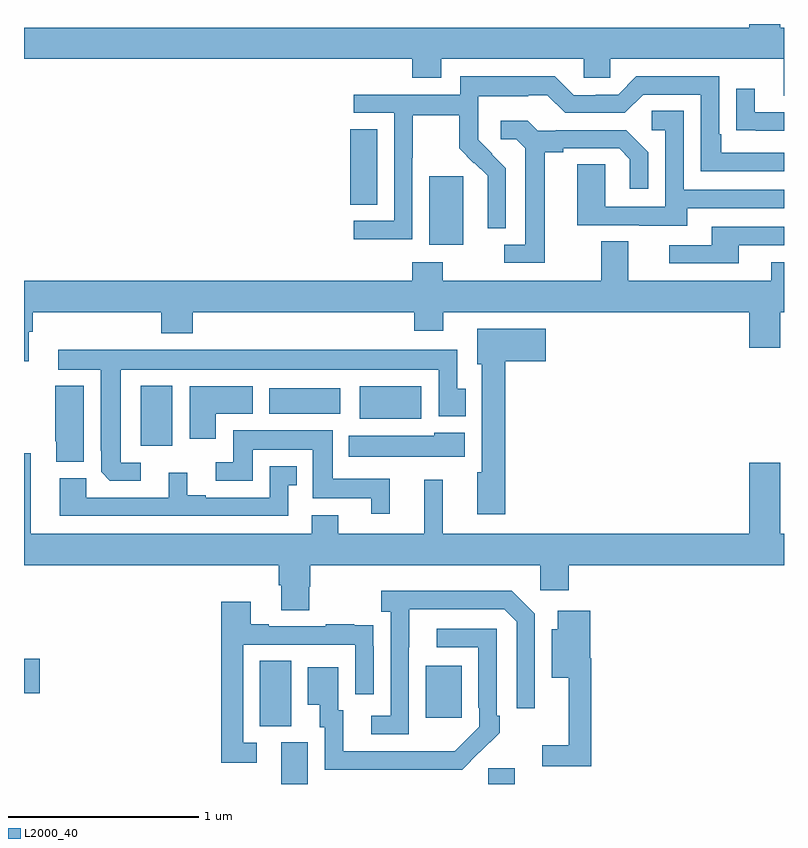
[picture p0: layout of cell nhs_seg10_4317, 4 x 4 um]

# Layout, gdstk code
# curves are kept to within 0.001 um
import gdstk
lib = gdstk.Library(unit=1e-6, precision=1e-09)
def R(c, l, rs):  # rectangles x0, y0, x1, y1
    for r in rs: c.add(gdstk.rectangle(r[:2], r[2:], *l))
def P(c, l, *ps):  # polygons
    for p in ps: c.add(gdstk.Polygon(p, *l))
L2000_40 = (2000, 40)

nhs_seg10_4317 = lib.new_cell('nhs_seg10_4317')
R(nhs_seg10_4317, L2000_40, [(354.353,1296.5,354.493,1296.72), (355.443,1296.5,355.582,1296.582), (354.242,1296.805,354.406,1297.148), (355.115,1296.849,355.303,1297.123), (353,1296.977,353.083,1297.16), (353.615,1298.28,353.779,1298.596), (354.767,1298.423,355.09,1298.593), (354.29,1298.45,354.664,1298.584), (355.133,1299.338,355.312,1299.699), (354.716,1299.55,354.859,1299.947)])
P(nhs_seg10_4317, L2000_40, [(357,1300.48),(356.98,1300.48),(356.98,1300.5),(356.816,1300.5),(356.816,1300.48),(353,1300.48),(353,1300.316),(355.043,1300.316),(355.043,1300.217),(355.195,1300.217),(355.195,1300.316),(355.947,1300.316),(355.947,1300.218),(356.085,1300.218),(356.085,1300.316),(356.999,1300.316),(356.999,1300.122),(357,1300.122)],
  [(355.044,1299.796),(355.047,1299.796),(355.047,1300.02),(355.291,1300.02),(355.291,1299.845),(355.368,1299.768),(355.371,1299.771),(355.442,1299.701),(355.442,1299.578),(355.44,1299.578),(355.44,1299.424),(355.536,1299.424),(355.536,1299.742),(355.39,1299.89),(355.39,1299.987),(355.392,1299.987),(355.392,1300.121),(355.655,1300.121),(355.655,1300.125),(355.755,1300.125),(355.848,1300.032),(356.163,1300.032),(356.259,1300.128),(356.562,1300.128),(356.562,1299.726),(357,1299.726),(357,1299.822),(356.671,1299.822),(356.671,1299.919),(356.658,1299.919),(356.658,1300.224),(356.223,1300.224),(356.127,1300.128),(356.009,1300.128),(356.009,1300.125),(355.893,1300.125),(355.793,1300.225),(355.296,1300.225),(355.296,1300.128),(354.735,1300.128),(354.735,1300.032),(354.948,1300.032),(354.948,1299.465),(354.735,1299.465),(354.735,1299.367),(355.044,1299.367)],
  [(357,1300.035),(356.845,1300.035),(356.845,1300.159),(356.749,1300.159),(356.749,1299.94),(356.851,1299.94),(356.851,1299.938),(357,1299.938)],
  [(356.491,1299.531),(357,1299.531),(357,1299.627),(356.472,1299.627),(356.472,1300.043),(356.304,1300.043),(356.304,1299.942),(356.376,1299.942),(356.376,1299.537),(356.058,1299.537),(356.058,1299.761),(355.913,1299.761),(355.913,1299.441),(356.237,1299.441),(356.237,1299.437),(356.491,1299.437)],
  [(355.741,1299.824),(355.837,1299.824),(355.837,1299.846),(356.132,1299.846),(356.189,1299.789),(356.189,1299.633),(356.286,1299.633),(356.286,1299.826),(356.17,1299.942),(355.798,1299.942),(355.798,1299.939),(355.704,1299.939),(355.652,1299.991),(355.509,1299.991),(355.509,1299.894),(355.59,1299.894),(355.637,1299.847),(355.637,1299.339),(355.527,1299.339),(355.527,1299.243),(355.741,1299.243)],
  [(356.761,1299.336),(357,1299.336),(357,1299.432),(356.621,1299.432),(356.621,1299.336),(356.397,1299.336),(356.397,1299.24),(356.761,1299.24)],
  [(353.026,1298.881),(353.045,1298.881),(353.045,1298.984),(353.723,1298.984),(353.723,1298.873),(353.888,1298.873),(353.888,1298.984),(355.055,1298.984),(355.055,1298.885),(355.207,1298.885),(355.207,1298.984),(356.816,1298.984),(356.816,1298.796),(356.98,1298.796),(356.98,1298.984),(357,1298.984),(357,1299.247),(356.933,1299.247),(356.933,1299.148),(356.179,1299.148),(356.179,1299.356),(356.039,1299.356),(356.039,1299.148),(355.203,1299.148),(355.203,1299.247),(355.043,1299.247),(355.043,1299.148),(353,1299.148),(353,1298.724),(353.026,1298.724)],
  [(355.532,1298.726),(355.747,1298.726),(355.747,1298.896),(355.385,1298.896),(355.385,1298.709),(355.409,1298.709),(355.409,1298.142),(355.385,1298.142),(355.385,1297.92),(355.532,1297.92)],
  [(353.614,1298.19),(353.509,1298.19),(353.509,1298.681),(355.182,1298.681),(355.182,1298.436),(355.324,1298.436),(355.324,1298.58),(355.279,1298.58),(355.279,1298.785),(353.181,1298.785),(353.181,1298.681),(353.405,1298.681),(353.406,1298.143),(353.452,1298.097),(353.614,1298.097)],
  [(353.314,1298.596),(353.164,1298.596),(353.164,1298.305),(353.171,1298.305),(353.171,1298.195),(353.314,1298.195)],
  [(354.01,1298.45),(354.205,1298.45),(354.205,1298.593),(353.873,1298.593),(353.873,1298.316),(354.01,1298.316)],
  [(354.926,1298.107),(354.625,1298.107),(354.625,1298.362),(354.101,1298.362),(354.101,1298.193),(354.009,1298.193),(354.009,1298.097),(354.205,1298.097),(354.205,1298.258),(354.521,1298.258),(354.521,1298.003),(354.827,1298.003),(354.827,1297.923),(354.926,1297.923)],
  [(355.321,1298.35),(355.158,1298.35),(355.158,1298.332),(354.71,1298.332),(354.71,1298.222),(355.321,1298.222)],
  [(354.501,1297.539),(354.506,1297.539),(354.506,1297.652),(355.716,1297.652),(355.716,1297.521),(355.868,1297.521),(355.868,1297.652),(357,1297.652),(357,1297.816),(356.98,1297.816),(356.98,1298.191),(356.816,1298.191),(356.816,1297.816),(355.205,1297.816),(355.205,1298.101),(355.106,1298.101),(355.106,1297.816),(354.655,1297.816),(354.655,1297.915),(354.515,1297.915),(354.515,1297.816),(353.035,1297.816),(353.035,1298.242),(353,1298.242),(353,1297.652),(354.341,1297.652),(354.341,1297.546),(354.353,1297.546),(354.353,1297.414),(354.501,1297.414)],
  [(354.39,1298.073),(354.436,1298.073),(354.436,1298.173),(354.294,1298.173),(354.294,1298.007),(353.956,1298.007),(353.956,1298.02),(353.86,1298.02),(353.86,1298.137),(353.762,1298.137),(353.762,1298.007),(353.328,1298.007),(353.328,1298.11),(353.189,1298.11),(353.189,1297.911),(354.39,1297.911)],
  [(355.026,1297.219),(355.027,1297.419),(355.527,1297.419),(355.593,1297.353),(355.593,1296.9),(355.689,1296.9),(355.689,1297.395),(355.568,1297.516),(354.879,1297.516),(354.879,1297.406),(354.93,1297.406),(354.93,1296.858),(354.828,1296.858),(354.828,1296.762),(355.026,1296.762)],
  [(354.226,1296.717),(354.153,1296.717),(354.153,1297.233),(354.744,1297.233),(354.744,1296.972),(354.84,1296.972),(354.84,1297.226),(354.839,1297.226),(354.839,1297.335),(354.737,1297.335),(354.737,1297.342),(354.589,1297.342),(354.589,1297.329),(354.289,1297.329),(354.289,1297.342),(354.193,1297.342),(354.193,1297.459),(354.037,1297.459),(354.037,1296.612),(354.226,1296.612)],
  [(355.985,1297.162),(355.979,1297.162),(355.979,1297.411),(355.808,1297.411),(355.808,1297.315),(355.778,1297.315),(355.778,1297.058),(355.868,1297.058),(355.868,1296.703),(355.728,1296.703),(355.728,1296.594),(355.985,1296.594)],
  [(355.397,1296.667),(355.398,1296.666),(355.503,1296.771),(355.503,1296.859),(355.488,1296.859),(355.488,1297.317),(355.173,1297.317),(355.173,1297.221),(355.392,1297.221),(355.392,1296.901),(355.395,1296.901),(355.395,1296.801),(355.267,1296.673),(354.679,1296.672),(354.679,1296.888),(354.655,1296.888),(354.655,1297.114),(354.494,1297.114),(354.494,1296.917),(354.557,1296.917),(354.557,1296.798),(354.582,1296.798),(354.582,1296.576),(355.306,1296.576)])

lib.write_gds('nhs_seg10_4317.gds')
